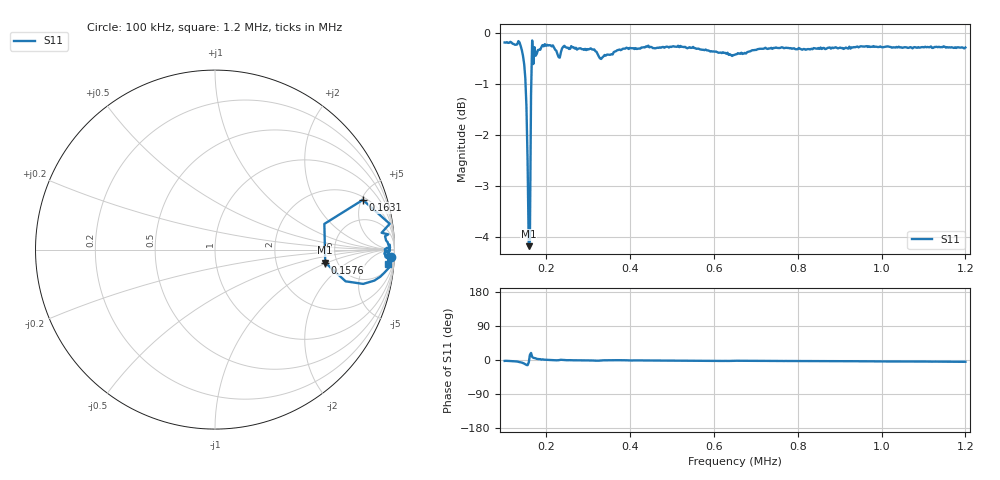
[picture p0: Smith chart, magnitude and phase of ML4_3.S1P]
!Agilent Technologies,E5071C,MY46100265,A.07.02
!Date: Wed Mar 04 14:56:50 2020
!Data & Calibration Information:
!Freq	S11:SOLT1(ON)
# Hz S MA R 50
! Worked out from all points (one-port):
!   402 points, 100 kHz to 1.2 MHz, reference 50 ohm
!   lowest |S11| = -4.2 dB at 157.6 kHz (marker M1), VSWR 4.24, Z = 200 - j47.1 ohm
!   |S11| at or under -10 dB: nowhere
!   S11 on the Smith chart (normalised r, x): 100 kHz: 19, -38; 157.6 kHz: 4.01, -0.94; 163.1 kHz: 2.27, +5.14; 1.2 MHz: 8, -21
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100000  0.9794 -2.4
124688  0.9744 -3.6
135661  0.9796 -5.5
141147  0.9625 -6.9
146633  0.9333 -9.3
149377  0.9044 -11.0
152120  0.8476 -13.0
154863  0.7489 -13.7
157606  0.6184 -6.7
163092  0.869 18.6
165835  0.9839 8.4
168579  0.9329 5.8
171322  0.9692 5.0
182294  0.9635 2.3
193267  0.971 1.1
220698  0.9636 -0.8
228928  0.9476 -0.5
239900  0.97 0.1
319451  0.959 -1.8
330424  0.9437 -1.3
377057  0.9626 -0.5
514214  0.9723 -1.9
569077  0.9639 -2.5
651372  0.9535 -2.1
788529  0.9664 -2.9
925686  0.9659 -3.2
1062843  0.9675 -3.9
1200000  0.9684 -4.7
